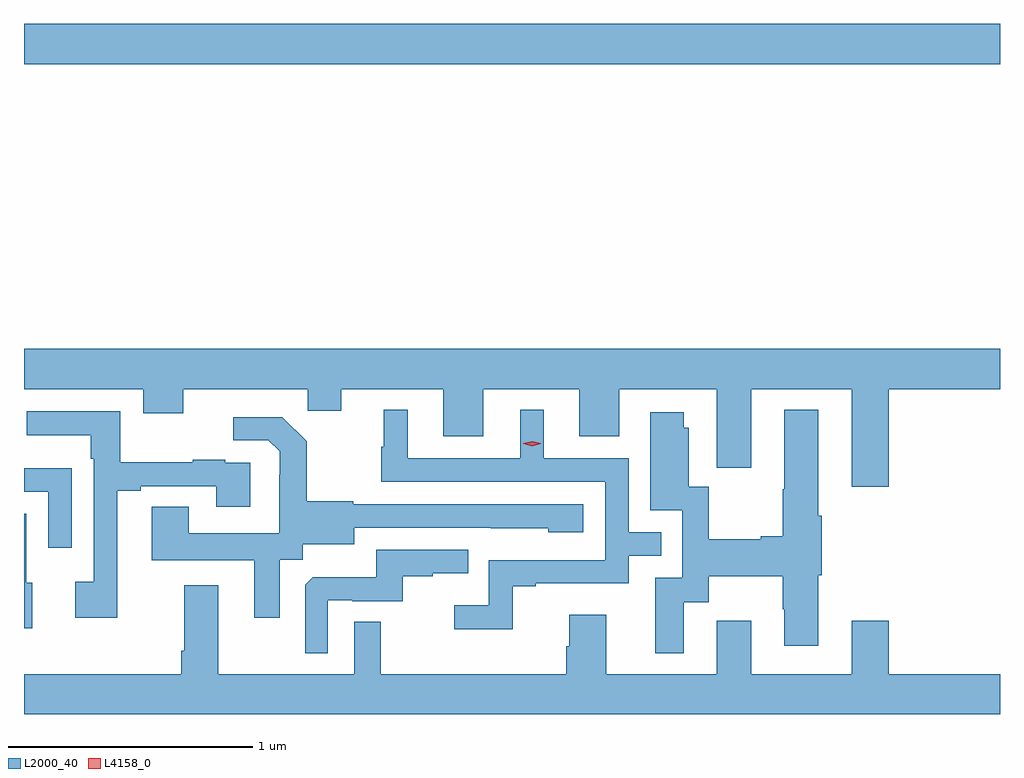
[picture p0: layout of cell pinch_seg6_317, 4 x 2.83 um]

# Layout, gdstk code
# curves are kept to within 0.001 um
import gdstk
lib = gdstk.Library(unit=1e-6, precision=1e-09)
def R(c, l, rs):  # rectangles x0, y0, x1, y1
    for r in rs: c.add(gdstk.rectangle(r[:2], r[2:], *l))
def P(c, l, *ps):  # polygons
    for p in ps: c.add(gdstk.Polygon(p, *l))
L2000_40 = (2000, 40)
L4158_0 = (4158, 0)

pinch_seg6_317 = lib.new_cell('pinch_seg6_317')
R(pinch_seg6_317, L2000_40, [(674.091,981.968,678.091,982.132)])
P(pinch_seg6_317, L2000_40, [(677.636,980.636),(678.091,980.636),(678.091,980.8),(674.091,980.8),(674.091,980.636),(674.579,980.636),(674.579,980.537),(674.743,980.537),(674.743,980.636),(675.253,980.636),(675.253,980.546),(675.391,980.546),(675.391,980.636),(675.809,980.636),(675.809,980.442),(675.973,980.442),(675.973,980.636),(676.367,980.636),(676.367,980.442),(676.531,980.442),(676.531,980.636),(676.931,980.636),(676.931,980.313),(677.071,980.313),(677.071,980.636),(677.483,980.636),(677.483,980.235),(677.636,980.235)],
  [(676.795,979.762),(676.897,979.762),(676.897,979.868),(677.2,979.868),(677.2,979.734),(677.207,979.734),(677.207,979.584),(677.347,979.584),(677.347,979.872),(677.36,979.872),(677.36,980.116),(677.347,980.116),(677.347,980.551),(677.207,980.551),(677.207,980.225),(677.2,980.225),(677.2,980.033),(677.111,980.033),(677.111,980.02),(676.897,980.02),(676.897,980.235),(676.816,980.235),(676.816,980.478),(676.795,980.478),(676.795,980.541),(676.658,980.541),(676.658,980.139),(676.788,980.139),(676.788,979.863),(676.679,979.863),(676.679,979.554),(676.795,979.554)],
  [(676.095,979.827),(676.189,979.827),(676.189,979.839),(676.569,979.839),(676.569,979.953),(676.703,979.953),(676.703,980.049),(676.569,980.049),(676.569,980.352),(676.222,980.352),(676.222,980.551),(676.124,980.551),(676.124,980.352),(675.664,980.352),(675.664,980.551),(675.566,980.551),(675.566,980.4),(675.555,980.4),(675.555,980.256),(676.473,980.256),(676.473,979.935),(675.996,979.935),(675.996,979.75),(675.855,979.75),(675.855,979.652),(676.095,979.652)],
  [(674.473,980.22),(674.569,980.22),(674.569,980.238),(674.879,980.238),(674.879,980.154),(675.019,980.154),(675.019,980.334),(674.915,980.334),(674.915,980.347),(674.783,980.347),(674.783,980.336),(674.485,980.336),(674.485,980.544),(674.103,980.544),(674.103,980.447),(674.364,980.447),(674.364,980.351),(674.376,980.351),(674.376,979.846),(674.301,979.846),(674.301,979.698),(674.473,979.698)],
  [(675.139,979.936),(675.234,979.936),(675.234,980),(675.445,980),(675.445,980.067),(676.239,980.066),(676.239,980.048),(676.384,980.048),(676.384,980.163),(675.441,980.163),(675.441,980.176),(675.249,980.176),(675.249,980.421),(675.149,980.521),(674.949,980.521),(674.949,980.427),(675.093,980.427),(675.14,980.38),(675.14,980.285),(675.138,980.285),(675.138,980.044),(674.767,980.044),(674.767,980.153),(674.615,980.153),(674.615,979.934),(675.035,979.934),(675.035,979.698),(675.139,979.698)],
  [(674.286,980.311),(674.091,980.311),(674.091,980.214),(674.19,980.214),(674.19,979.986),(674.286,979.986)],
  [(674.125,979.842),(674.1,979.842),(674.1,980.124),(674.091,980.124),(674.091,979.655),(674.125,979.655)],
  [(675.336,979.77),(675.436,979.77),(675.436,979.767),(675.644,979.767),(675.644,979.869),(675.767,979.869),(675.767,979.88),(675.911,979.88),(675.911,979.977),(675.534,979.977),(675.534,979.865),(675.275,979.865),(675.243,979.833),(675.243,979.553),(675.336,979.553)],
  [(678.091,979.468),(677.636,979.468),(677.636,979.687),(677.483,979.687),(677.483,979.468),(677.071,979.468),(677.071,979.687),(676.931,979.687),(676.931,979.468),(676.477,979.468),(676.477,979.711),(676.325,979.711),(676.325,979.581),(676.313,979.581),(676.313,979.468),(675.553,979.468),(675.553,979.682),(675.444,979.682),(675.444,979.468),(674.887,979.468),(674.887,979.831),(674.747,979.831),(674.747,979.564),(674.735,979.564),(674.735,979.468),(674.091,979.468),(674.091,979.304),(678.091,979.304)])
P(pinch_seg6_317, L4158_0, [(676.173,980.402),(676.138,980.412),(676.137,980.412),(676.138,980.413),(676.173,980.422),(676.208,980.413),(676.209,980.412),(676.208,980.412)])

lib.write_gds('pinch_seg6_317.gds')
